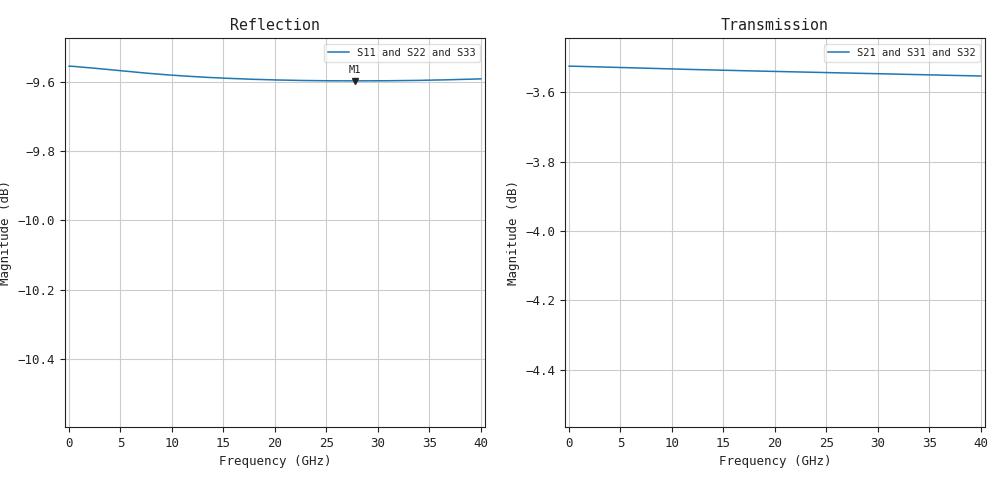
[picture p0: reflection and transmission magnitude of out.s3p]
! Sonnet Data File
! From: em Version : 17.56
! From Project: aaaa
! Data is De-embedded
! Data File Written: 02/20/2023 16:19:38
!< HDATE 02/20/2023 16:19:08
!< MDATE 02/20/2023 16:19:08
# GHZ S MA R 50.00000
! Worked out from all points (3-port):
!   201 points, 10 MHz to 40 GHz, reference 50 ohm
!   strongest paths, dB at 10 MHz, 10 GHz, 20 GHz, 30 GHz, 40 GHz:
!     S21: -3.5, -3.5, -3.5, -3.5, -3.6
!     S31: -3.5, -3.5, -3.5, -3.5, -3.6
!     S32: -3.5, -3.5, -3.5, -3.6, -3.6
!   lowest |S11| = -9.6 dB at 27.8 GHz (marker M1), VSWR 1.99, Z = 25.3 + j3.52 ohm
!   |S11| at or under -10 dB: nowhere
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0.01  0.3328 180.0  0.6664 -0.0  0.6664 -0.0
      0.6664 -0.0  0.3328 180.0  0.6664 -0.0
      0.6664 -0.0  0.6664 -0.0  0.3328 180.0
1.4  0.3327 179.4  0.6663 -0.4  0.6663 -0.4
     0.6663 -0.4  0.3327 179.2  0.6663 -0.5
     0.6663 -0.4  0.6663 -0.5  0.3327 179.2
4.2  0.3324 178.3  0.6662 -1.1  0.6662 -1.1
     0.6662 -1.1  0.3324 177.7  0.6661 -1.4
     0.6662 -1.1  0.6661 -1.4  0.3324 177.7
9.8  0.3319 176.1  0.6658 -2.5  0.6658 -2.5
     0.6658 -2.5  0.3319 174.7  0.6656 -3.2
     0.6658 -2.5  0.6656 -3.2  0.3319 174.7
15  0.3315 174.1  0.6655 -3.8  0.6655 -3.8
    0.6655 -3.8  0.3316 171.9  0.6652 -4.8
    0.6655 -3.8  0.6652 -4.8  0.3316 171.9
20.2  0.3313 172.1  0.6652 -5.1  0.6652 -5.1
      0.6652 -5.1  0.3316 169.2  0.6648 -6.5
      0.6652 -5.1  0.6648 -6.5  0.3316 169.2
24  0.3312 170.7  0.665 -6.0  0.665 -6.0
    0.665 -6.0  0.3317 167.2  0.6645 -7.7
    0.665 -6.0  0.6645 -7.7  0.3317 167.2
27.8  0.3312 169.2  0.6649 -6.9  0.6649 -6.9
      0.6649 -6.9  0.3319 165.3  0.6642 -8.9
      0.6649 -6.9  0.6642 -8.9  0.3319 165.3
33.8  0.3313 167.0  0.6646 -8.4  0.6646 -8.4
      0.6646 -8.4  0.3323 162.2  0.6637 -10.8
      0.6646 -8.4  0.6637 -10.8  0.3323 162.2
40  0.3314 164.7  0.6642 -9.9  0.6642 -9.9
    0.6642 -9.9  0.333 159.0  0.6631 -12.8
    0.6642 -9.9  0.6631 -12.8  0.333 159.0
